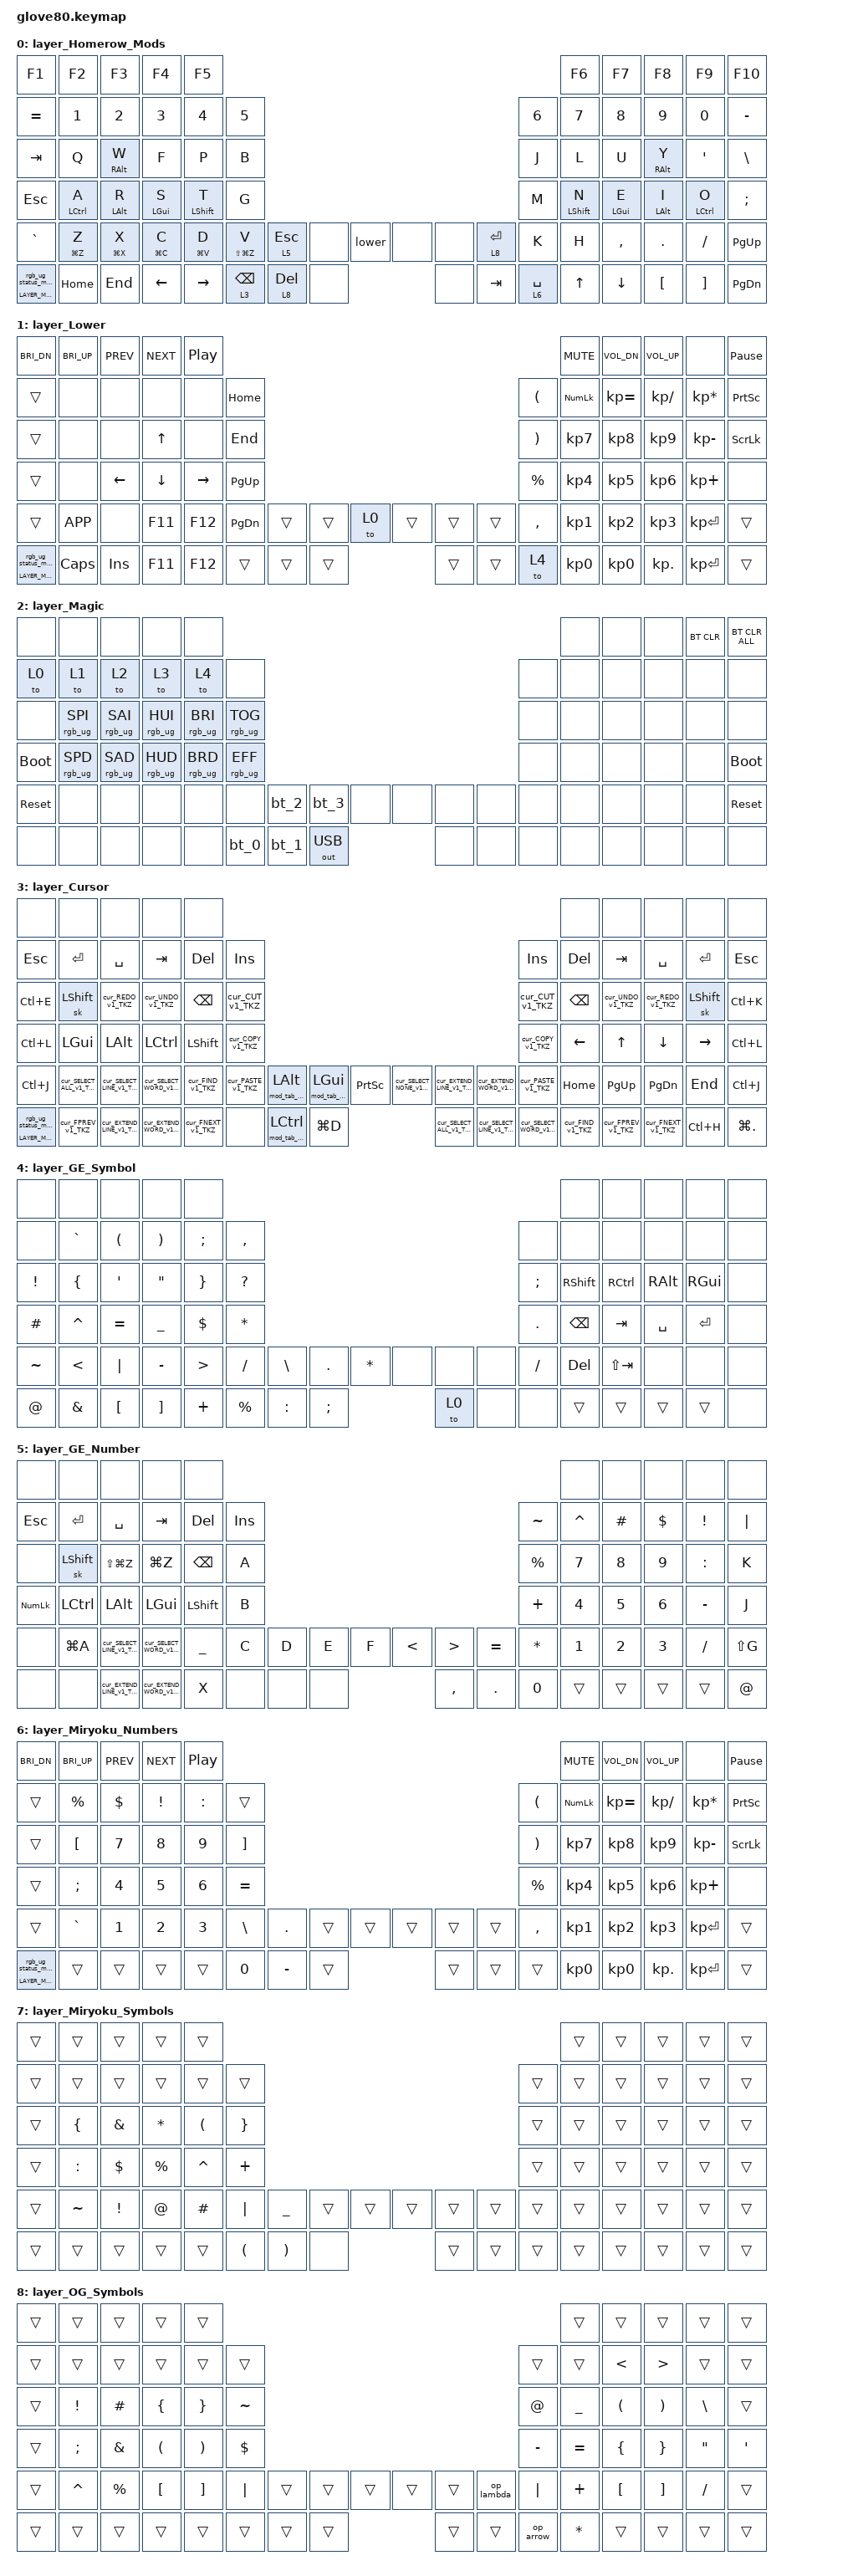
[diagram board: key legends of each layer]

/*
 * Copyright (c) 2020 The ZMK Contributors
 * Copyright (c) 2023 Innaworks Development Limited, trading as MoErgo
 *
 * SPDX-License-Identifier: MIT
 */


/* THIS FILE WAS GENERATED BY GLOVE80 LAYOUT EDITOR
 *
 * This file was generated automatically. You may or may not want to
 * edit it directly.
 */

#include <behaviors.dtsi>
/* Include all behavior includes needed */
#include <dt-bindings/zmk/outputs.h>
#include <dt-bindings/zmk/keys.h>
#include <dt-bindings/zmk/bt.h>
#include <dt-bindings/zmk/rgb.h>

/* Automatically generated layer name #define */
#define LAYER_Homerow_Mods 0
#define LAYER_Lower 1
#define LAYER_Magic 2
#define LAYER_Cursor 3
#define LAYER_GE_Symbol 4
#define LAYER_GE_Number 5
#define LAYER_Miryoku_Numbers 6
#define LAYER_Miryoku_Symbols 7
#define LAYER_OG_Symbols 8

/* To deal with the situation where there is no Lower layer, to keep &lower happy */
#ifndef LAYER_Lower
#define LAYER_Lower 0
#endif

/* Custom Device-tree */



/* Glove80 system behavior & macros */
/ {
    behaviors {
        // For the "layer" key, it'd nice to be able to use it as either a shift or a toggle.
        // Configure it as a tap dance, so the first tap (or hold) is a &mo and the second tap is a &to
        lower: lower {
            compatible = "zmk,behavior-tap-dance";
            label = "LAYER_TAP_DANCE";
            #binding-cells = <0>;
            tapping-term-ms = <200>;
            bindings = <&mo LAYER_Lower>, <&to LAYER_Lower>;
        };
    };
};

/ {
    macros {
        rgb_ug_status_macro: rgb_ug_status_macro {
            label = "RGB_UG_STATUS";
            compatible = "zmk,behavior-macro";
            #binding-cells = <0>;
            bindings
                = <&rgb_ug RGB_STATUS>;
        };
    };
};


/ {
#ifdef BT_DISC_CMD
    behaviors {
        bt_0: bt_0 {
            compatible = "zmk,behavior-tap-dance";
            label = "BT_0";
            #binding-cells = <0>;
            tapping-term-ms = <200>;
            bindings = <&bt_select_0>, <&bt BT_DISC 0>;
        };
        bt_1: bt_1 {
            compatible = "zmk,behavior-tap-dance";
            label = "BT_1";
            #binding-cells = <0>;
            tapping-term-ms = <200>;
            bindings = <&bt_select_1>, <&bt BT_DISC 1>;
        };
        bt_2: bt_2 {
            compatible = "zmk,behavior-tap-dance";
            label = "BT_2";
            #binding-cells = <0>;
            tapping-term-ms = <200>;
            bindings = <&bt_select_2>, <&bt BT_DISC 2>;
        };
        bt_3: bt_3 {
            compatible = "zmk,behavior-tap-dance";
            label = "BT_3";
            #binding-cells = <0>;
            tapping-term-ms = <200>;
            bindings = <&bt_select_3>, <&bt BT_DISC 3>;
        };
    };
    macros {
        bt_select_0: bt_select_0 {
            label = "BT_SELECT_0";
            compatible = "zmk,behavior-macro";
            #binding-cells = <0>;
            bindings
                = <&out OUT_BLE>,
                  <&bt BT_SEL 0>;
        };
        bt_select_1: bt_select_1 {
            label = "BT_SELECT_1";
            compatible = "zmk,behavior-macro";
            #binding-cells = <0>;
            bindings
                = <&out OUT_BLE>,
                  <&bt BT_SEL 1>;
        };
        bt_select_2: bt_select_2 {
            label = "BT_SELECT_2";
            compatible = "zmk,behavior-macro";
            #binding-cells = <0>;
            bindings
                = <&out OUT_BLE>,
                  <&bt BT_SEL 2>;
        };
        bt_select_3: bt_select_3 {
            label = "BT_SELECT_3";
            compatible = "zmk,behavior-macro";
            #binding-cells = <0>;
            bindings
                = <&out OUT_BLE>,
                  <&bt BT_SEL 3>;
        };
    };
#else
    macros {
        bt_0: bt_0 {
            label = "BT_0";
            compatible = "zmk,behavior-macro";
            #binding-cells = <0>;
            bindings
                = <&out OUT_BLE>,
                  <&bt BT_SEL 0>;
        };
        bt_1: bt_1 {
            label = "BT_1";
            compatible = "zmk,behavior-macro";
            #binding-cells = <0>;
            bindings
                = <&out OUT_BLE>,
                  <&bt BT_SEL 1>;
        };
        bt_2: bt_2 {
            label = "BT_2";
            compatible = "zmk,behavior-macro";
            #binding-cells = <0>;
            bindings
                = <&out OUT_BLE>,
                  <&bt BT_SEL 2>;
        };
        bt_3: bt_3 {
            label = "BT_3";
            compatible = "zmk,behavior-macro";
            #binding-cells = <0>;
            bindings
                = <&out OUT_BLE>,
                  <&bt BT_SEL 3>;
        };
    };
#endif
};

/ {
    behaviors {
        magic: magic {
            compatible = "zmk,behavior-hold-tap";
            label = "MAGIC_HOLD_TAP";
            #binding-cells = <2>;
            flavor = "tap-preferred";
            tapping-term-ms = <200>;
            bindings = <&mo>, <&rgb_ug_status_macro>;
        };
    };
};

/* #define for key positions */
#define POS_LH_T1 52
#define POS_LH_T2 53
#define POS_LH_T3 54
#define POS_LH_T4 69
#define POS_LH_T5 70
#define POS_LH_T6 71
#define POS_LH_C1R2 15
#define POS_LH_C1R3 27
#define POS_LH_C1R4 39
#define POS_LH_C1R5 51
#define POS_LH_C2R1 4
#define POS_LH_C2R2 14
#define POS_LH_C2R3 26
#define POS_LH_C2R4 38
#define POS_LH_C2R5 50
#define POS_LH_C2R6 68
#define POS_LH_C3R1 3
#define POS_LH_C3R2 13
#define POS_LH_C3R3 25
#define POS_LH_C3R4 37
#define POS_LH_C3R5 49
#define POS_LH_C3R6 67
#define POS_LH_C4R1 2
#define POS_LH_C4R2 12
#define POS_LH_C4R3 24
#define POS_LH_C4R4 36
#define POS_LH_C4R5 48
#define POS_LH_C4R6 66
#define POS_LH_C5R1 1
#define POS_LH_C5R2 11
#define POS_LH_C5R3 23
#define POS_LH_C5R4 35
#define POS_LH_C5R5 47
#define POS_LH_C5R6 65
#define POS_LH_C6R1 0
#define POS_LH_C6R2 10
#define POS_LH_C6R3 22
#define POS_LH_C6R4 34
#define POS_LH_C6R5 46
#define POS_LH_C6R6 64
#define POS_RH_T1 57
#define POS_RH_T2 56
#define POS_RH_T3 55
#define POS_RH_T4 74
#define POS_RH_T5 73
#define POS_RH_T6 72
#define POS_RH_C1R2 16
#define POS_RH_C1R3 28
#define POS_RH_C1R4 40
#define POS_RH_C1R5 58
#define POS_RH_C2R1 5
#define POS_RH_C2R2 17
#define POS_RH_C2R3 29
#define POS_RH_C2R4 41
#define POS_RH_C2R5 59
#define POS_RH_C2R6 75
#define POS_RH_C3R1 6
#define POS_RH_C3R2 18
#define POS_RH_C3R3 30
#define POS_RH_C3R4 42
#define POS_RH_C3R5 60
#define POS_RH_C3R6 76
#define POS_RH_C4R1 7
#define POS_RH_C4R2 19
#define POS_RH_C4R3 31
#define POS_RH_C4R4 43
#define POS_RH_C4R5 61
#define POS_RH_C4R6 77
#define POS_RH_C5R1 8
#define POS_RH_C5R2 20
#define POS_RH_C5R3 32
#define POS_RH_C5R4 44
#define POS_RH_C5R5 62
#define POS_RH_C5R6 78
#define POS_RH_C6R1 9
#define POS_RH_C6R2 21
#define POS_RH_C6R3 33
#define POS_RH_C6R4 45
#define POS_RH_C6R5 63
#define POS_RH_C6R6 79

/* Custom Defined Behaviors */
/ {

};

/* Automatically generated macro definitions */
/ {
    macros {

        // Cursor Layer - Copy (Cmd C) - TailorKey
        cur_COPY_v1_TKZ: cur_COPY_v1_TKZ {
            label = "&CUR_COPY_V1_TKZ";
            compatible = "zmk,behavior-macro";
            #binding-cells = <0>;
            bindings = <&kp LG(C)>;
        };

        // Cursor Layer - Cut (Cmd X) - TailorKey
        cur_CUT_v1_TKZ: cur_CUT_v1_TKZ {
            label = "&CUR_CUT_V1_TKZ";
            compatible = "zmk,behavior-macro";
            #binding-cells = <0>;
            bindings = <&kp LG(X)>;
        };

        // Cursor Layer - Extent Line (seq) - TailorKey
        cur_EXTEND_LINE_v1_TKZ: cur_EXTEND_LINE_v1_TKZ {
            label = "&CUR_EXTEND_LINE_V1_TKZ";
            compatible = "zmk,behavior-macro";
            #binding-cells = <0>;
            tap-ms = <1>;
            wait-ms = <1>;
            bindings = <&kp LS(END)>;
        };

        // Cursor Layer - Extend Word (seq) - TailorKey
        cur_EXTEND_WORD_v1_TKZ: cur_EXTEND_WORD_v1_TKZ {
            label = "&CUR_EXTEND_WORD_V1_TKZ";
            compatible = "zmk,behavior-macro";
            #binding-cells = <0>;
            tap-ms = <1>;
            wait-ms = <1>;
            bindings = <&kp LA(LS(RIGHT))>;
        };

        // Cursor Layer - Find (Cmd F) - TailorKey
        cur_FIND_v1_TKZ: cur_FIND_v1_TKZ {
            label = "&CUR_FIND_V1_TKZ";
            compatible = "zmk,behavior-macro";
            #binding-cells = <0>;
            bindings = <&kp LG(F)>;
        };

        // Cursor Layer - Find Next (Cmd G) - TailorKey
        cur_FNEXT_v1_TKZ: cur_FNEXT_v1_TKZ {
            label = "&CUR_FNEXT_V1_TKZ";
            compatible = "zmk,behavior-macro";
            #binding-cells = <0>;
            bindings = <&kp LG(G)>;
        };

        // Cursor Layer - Find Prev (Cmd Shift G) - TailorKey
        cur_FPREV_v1_TKZ: cur_FPREV_v1_TKZ {
            label = "&CUR_FPREV_V1_TKZ";
            compatible = "zmk,behavior-macro";
            #binding-cells = <0>;
            bindings = <&kp LS(LG(G))>;
        };

        // Cursor Layer - Paste (Cmd V) - TailorKey
        cur_PASTE_v1_TKZ: cur_PASTE_v1_TKZ {
            label = "&CUR_PASTE_V1_TKZ";
            compatible = "zmk,behavior-macro";
            #binding-cells = <0>;
            bindings = <&kp LG(V)>;
        };

        // Cursor Layer - Redo (Cmd Y) - TailorKey
        cur_REDO_v1_TKZ: cur_REDO_v1_TKZ {
            label = "&CUR_REDO_V1_TKZ";
            compatible = "zmk,behavior-macro";
            #binding-cells = <0>;
            bindings = <&kp LG(Y)>;
        };

        // Cursor Layer - Selest All (Cmd A) - TailorKey
        cur_SELECT_ALL_v1_TKZ: cur_SELECT_ALL_v1_TKZ {
            label = "&CUR_SELECT_ALL_V1_TKZ";
            compatible = "zmk,behavior-macro";
            #binding-cells = <0>;
            bindings = <&kp LG(A)>;
        };

        // Cursor Layer - Select Line (seq) - TailorKey
        cur_SELECT_LINE_v1_TKZ: cur_SELECT_LINE_v1_TKZ {
            label = "&CUR_SELECT_LINE_V1_TKZ";
            compatible = "zmk,behavior-macro";
            #binding-cells = <0>;
            tap-ms = <1>;
            wait-ms = <1>;
            bindings = <&kp HOME>
                , <&kp LS(END)>;
        };

        // Cursor Layer - Select None (seq) - TailorKey
        cur_SELECT_NONE_v1_TKZ: cur_SELECT_NONE_v1_TKZ {
            label = "&CUR_SELECT_NONE_V1_TKZ";
            compatible = "zmk,behavior-macro";
            #binding-cells = <0>;
            tap-ms = <1>;
            wait-ms = <1>;
            bindings = <&kp DOWN>
                , <&kp UP>
                , <&kp RIGHT>
                , <&kp LEFT>;
        };

        // Cursor Layer - Select Word (seq) - TailorKey
        cur_SELECT_WORD_v1_TKZ: cur_SELECT_WORD_v1_TKZ {
            label = "&CUR_SELECT_WORD_V1_TKZ";
            compatible = "zmk,behavior-macro";
            #binding-cells = <0>;
            tap-ms = <1>;
            wait-ms = <1>;
            bindings = <&kp LA(LEFT)>
                , <&kp LA(LS(RIGHT))>;
        };

        // Cursor Layer - Undo (Cmd Z) - TailorKey
        cur_UNDO_v1_TKZ: cur_UNDO_v1_TKZ {
            label = "&CUR_UNDO_V1_TKZ";
            compatible = "zmk,behavior-macro";
            #binding-cells = <0>;
            bindings = <&kp LG(Z)>;
        };

        // mod_tab_switcher_chord -  TailorKey
        mod_tab_chord_v1_TKZ: mod_tab_chord_v1_TKZ {
            label = "&MOD_TAB_CHORD_V1_TKZ";
            compatible = "zmk,behavior-macro-two-param";
            #binding-cells = <2>;
            tap-ms = <0>;
            wait-ms = <0>;
            bindings = <&macro_press>
                , <&macro_param_2to1>
                , <&mo 0>
                , <&macro_press>
                , <&macro_param_1to1>
                , <&mod_tab_v1_TKZ N0>
                , <&macro_pause_for_release>
                , <&macro_release>
                , <&macro_param_1to1>
                , <&mod_tab_v1_TKZ N0>
                , <&macro_release>
                , <&macro_param_2to1>
                , <&mo 0>;
        };

        // mod_tab_switcher - TailorKey
        //
        //
        mod_tab_v1_TKZ: mod_tab_v1_TKZ {
            label = "&MOD_TAB_V1_TKZ";
            compatible = "zmk,behavior-macro-one-param";
            #binding-cells = <1>;
            tap-ms = <0>;
            wait-ms = <0>;
            bindings = <&macro_press>
                , <&macro_param_1to1>
                , <&kp N0>
                , <&macro_tap>
                , <&kp TAB>
                , <&macro_pause_for_release>
                , <&macro_release>
                , <&macro_param_1to1>
                , <&kp N0>;
        };

        // Lambda Operator (=>)
        op_lambda: op_lambda {
            label = "&OP_LAMBDA";
            compatible = "zmk,behavior-macro";
            #binding-cells = <0>;
            tap-ms = <10>;
            wait-ms = <5>;
            bindings = <&kp EQUAL>
                , <&kp GT>;
        };

        // Lambda Operator (->)
        op_arrow: op_arrow {
            label = "&OP_ARROW";
            compatible = "zmk,behavior-macro";
            #binding-cells = <0>;
            tap-ms = <10>;
            wait-ms = <5>;
            bindings = <&kp MINUS>
                , <&kp GT>;
        };
    };
};

/* Automatically generated behavior definitions */
/ {
    behaviors {

        // Short duration mod-tap for undo, copy & paste with one hold
        EditHoldTap: EditHoldTap {
            compatible = "zmk,behavior-hold-tap";
            #binding-cells = <2>;
            tapping-term-ms = <175>;
            bindings = <&kp>, <&kp>;
            flavor = "tap-preferred";
            quick-tap-ms = <75>;
        };

        // Homerow Mod for the left index finger - TailorKey
        HRM_left_index_v1_TKZ: HRM_left_index_v1_TKZ {
            compatible = "zmk,behavior-hold-tap";
            #binding-cells = <2>;
            tapping-term-ms = <170>;
            bindings = <&kp>, <&kp>;
            flavor = "tap-preferred";
            quick-tap-ms = <300>;
            require-prior-idle-ms = <100>;
            hold-trigger-key-positions = <57 56 55 72 73 74 5 6 7 8 16 17 18 19 20 28 29 30 31 32 40 41 42 43 44 58 59 60 61 62 75 76 77 78 9 21 33 45 63 79 52 53 54 70 71 69>;
            hold-trigger-on-release;
        };

        // Homerow Mod for the left middle finger - TailorKey
        HRM_left_middy_v1_TKZ: HRM_left_middy_v1_TKZ {
            compatible = "zmk,behavior-hold-tap";
            #binding-cells = <2>;
            tapping-term-ms = <210>;
            bindings = <&kp>, <&kp>;
            flavor = "tap-preferred";
            quick-tap-ms = <300>;
            require-prior-idle-ms = <150>;
            hold-trigger-key-positions = <57 56 55 72 73 74 5 6 7 8 16 17 18 19 20 28 29 30 31 32 40 41 42 43 44 58 59 60 61 62 75 76 77 78 9 21 33 45 63 79 52 53 54 69 70 71>;
            hold-trigger-on-release;
        };

        // Homerow Mod for the left pinky - TailorKey
        HRM_left_pinky_v1_TKZ: HRM_left_pinky_v1_TKZ {
            compatible = "zmk,behavior-hold-tap";
            #binding-cells = <2>;
            tapping-term-ms = <260>;
            bindings = <&kp>, <&kp>;
            flavor = "tap-preferred";
            quick-tap-ms = <300>;
            require-prior-idle-ms = <150>;
            hold-trigger-key-positions = <57 56 55 72 73 74 5 6 7 8 9 16 17 18 19 20 21 29 30 31 32 33 42 43 44 45 60 61 62 63 28 40 41 58 59 75 76 77 79 78 52 53 54 69 70 71>;
            hold-trigger-on-release;
        };

        // Homerow Mod for the left ring finger 1 - TailorKey
        HRM_left_ring1_v1_TKZ: HRM_left_ring1_v1_TKZ {
            compatible = "zmk,behavior-hold-tap";
            #binding-cells = <2>;
            tapping-term-ms = <240>;
            bindings = <&kp>, <&kp>;
            flavor = "tap-preferred";
            quick-tap-ms = <300>;
            require-prior-idle-ms = <150>;
            hold-trigger-key-positions = <57 56 55 72 73 74 5 6 7 8 16 17 18 19 20 28 29 30 31 32 40 41 42 43 44 58 59 60 61 62 75 76 77 78 9 21 33 45 63 79 52 53 54 69 70 71>;
            hold-trigger-on-release;
        };

        // Homerow Mod for the left ring finger 2 - TailorKey
        HRM_left_ring2_v1_TKZ: HRM_left_ring2_v1_TKZ {
            compatible = "zmk,behavior-hold-tap";
            #binding-cells = <2>;
            tapping-term-ms = <240>;
            bindings = <&kp>, <&kp>;
            flavor = "tap-preferred";
            quick-tap-ms = <300>;
            require-prior-idle-ms = <150>;
            hold-trigger-key-positions = <57 56 55 72 73 74 5 6 7 8 16 17 18 19 20 28 29 30 31 32 40 41 42 43 44 58 59 60 61 62 75 76 77 78 9 21 33 45 63 79 53 54 69 70 71 52>;
            hold-trigger-on-release;
        };

        // Homerow Mod for the right index finger - TailorKey
        HRM_right_index_v1_TKZ: HRM_right_index_v1_TKZ {
            compatible = "zmk,behavior-hold-tap";
            #binding-cells = <2>;
            tapping-term-ms = <170>;
            bindings = <&kp>, <&kp>;
            flavor = "tap-preferred";
            quick-tap-ms = <300>;
            require-prior-idle-ms = <100>;
            hold-trigger-key-positions = <52 53 54 71 70 69 0 1 10 11 12 13 14 22 23 24 25 26 27 34 35 36 37 38 39 46 47 48 49 50 51 64 65 66 67 68 15 4 2 3 55 56 57 72 73 74>;
            hold-trigger-on-release;
        };

        // Homerow Mod for the right middle finger - TailorKey
        HRM_right_middy_v1_TKZ: HRM_right_middy_v1_TKZ {
            compatible = "zmk,behavior-hold-tap";
            #binding-cells = <2>;
            tapping-term-ms = <210>;
            bindings = <&kp>, <&kp>;
            flavor = "tap-preferred";
            quick-tap-ms = <300>;
            require-prior-idle-ms = <150>;
            hold-trigger-key-positions = <52 53 54 71 70 69 0 1 10 11 12 13 14 22 23 24 25 26 27 34 35 36 37 38 39 46 47 48 49 50 51 64 65 66 67 68 15 4 2 3 55 56 57 72 73 74>;
            hold-trigger-on-release;
        };

        // Homerow Mod for the right pinky - TailorKey
        HRM_right_pinky_v1_TKZ: HRM_right_pinky_v1_TKZ {
            compatible = "zmk,behavior-hold-tap";
            #binding-cells = <2>;
            tapping-term-ms = <260>;
            bindings = <&kp>, <&kp>;
            flavor = "tap-preferred";
            quick-tap-ms = <300>;
            require-prior-idle-ms = <150>;
            hold-trigger-key-positions = <52 53 54 71 70 69 0 1 10 11 12 13 14 22 23 24 25 26 27 34 35 36 37 38 39 46 47 48 49 50 51 64 65 66 67 68 15 4 2 3 55 56 57 72 73 74>;
            hold-trigger-on-release;
        };

        // Homerow Mod for the right ring 1 - TailorKey
        //
        HRM_right_ring1_v1_TKZ: HRM_right_ring1_v1_TKZ {
            compatible = "zmk,behavior-hold-tap";
            #binding-cells = <2>;
            tapping-term-ms = <240>;
            bindings = <&kp>, <&kp>;
            flavor = "tap-preferred";
            quick-tap-ms = <300>;
            require-prior-idle-ms = <150>;
            hold-trigger-key-positions = <52 53 54 71 70 69 0 1 10 11 12 13 14 22 23 24 25 26 27 34 35 36 37 38 39 46 47 48 49 50 51 64 65 66 67 68 15 4 2 3 55 56 57 72 73 74>;
            hold-trigger-on-release;
        };

        // Homerow Mod for the right ring 2 - TailorKey
        HRM_right_ring2_v1_TKZ: HRM_right_ring2_v1_TKZ {
            compatible = "zmk,behavior-hold-tap";
            #binding-cells = <2>;
            tapping-term-ms = <240>;
            bindings = <&kp>, <&kp>;
            flavor = "tap-preferred";
            quick-tap-ms = <300>;
            require-prior-idle-ms = <150>;
            hold-trigger-key-positions = <52 53 54 71 70 69 0 1 10 11 12 13 14 22 23 24 25 26 27 34 35 36 37 38 39 46 47 48 49 50 51 64 65 66 67 68 15 4 2 3 55 56 57 72 73 74>;
            hold-trigger-on-release;
        };

        // space_layer_access - TailorKey
        space_v1_TKZ: space_v1_TKZ {
            compatible = "zmk,behavior-hold-tap";
            #binding-cells = <2>;
            tapping-term-ms = <200>;
            bindings = <&mo>, <&kp>;
            flavor = "tap-preferred";
            quick-tap-ms = <150>;
        };

        // thumb_layer_access - TailorKey
        thumb_v1_TKZ: thumb_v1_TKZ {
            compatible = "zmk,behavior-hold-tap";
            #binding-cells = <2>;
            tapping-term-ms = <200>;
            bindings = <&mo>, <&kp>;
            flavor = "tap-preferred";
            quick-tap-ms = <300>;
        };
    };
};

/* Automatically generated combos definitions */
/ {
    combos {
        compatible = "zmk,combos";

        // capslock when pressing both T1's - TailorKey
        combo_capslock_v1_TKZ {
            key-positions = <52 57>;
            bindings = <&kp CAPS>;
        };

        // capsword on LH_T1 and LH_C2R4 - TailorKey
        combo_capsword_left_v1_TKZ {
            timeout-ms = <50>;
            key-positions = <38 52>;
            bindings = <&caps_word>;
        };

        // capsword on RH_T1 and RH_C2R4 - TailorKey
        combo_capsword_right_v1_TKZ {
            timeout-ms = <50>;
            key-positions = <57 41>;
            bindings = <&caps_word>;
        };

        // F11 on RH_C5 and RH_R1+R2 - TailorKey
        combo_F11_v1_TKZ {
            key-positions = <8 20>;
            bindings = <&kp F11>;
        };

        // F12 on RH_C6 and RH_R1+R2 - TailorKey
        combo_F12_v1_TKZ {
            key-positions = <9 21>;
            bindings = <&kp F12>;
        };

        // sticky "hyper" modifiers (Alt + Ctrl + Shift) - TailorKey
        combo_sticky_hyp_rght_v1_TKZ {
            timeout-ms = <50>;
            key-positions = <74 57>;
            bindings = <&sk LG(LA(LC(LSHFT)))>;
        };

        // sticky "meh" modifiers (Alt + Ctrl + Shift) - TailorKey
        combo_sticky_meh_rght_v1_TKZ {
            timeout-ms = <50>;
            key-positions = <73 74>;
            bindings = <&sk LA(LC(LSHFT))>;
        };

        // Calls macro tab_switcher_ctrl_combo on Left T4/T5 - TailorKey
        combo_ctrl_tab_switch_v1_TKZ {
            timeout-ms = <51>;
            key-positions = <69 70>;
            bindings = <&mod_tab_chord_v1_TKZ LCTRL 3>;
        };

        // Calls macro tab_switcher_gui_combo on Left T1/T4 - TailorKey
        combo_alt_tab_switch_v1_TKZ {
            key-positions = <69 52>;
            bindings = <&mod_tab_chord_v1_TKZ LALT 3>;
        };
    };
};

/* Automatically generated keymap */
/ {
    keymap {
        compatible = "zmk,keymap";


        layer_Homerow_Mods {
            bindings = <
               &kp F1                          &kp F2                         &kp F3                         &kp F4                          &kp F5                                                                                                                                                        &kp F6                          &kp F7                          &kp F8                           &kp F9    &kp F10
            &kp EQUAL                          &kp N1                         &kp N2                         &kp N3                          &kp N4                    &kp N5                                                                                             &kp N6                           &kp N7                          &kp N8                          &kp N9                           &kp N0  &kp MINUS
              &kp TAB                           &kp Q  &HRM_left_ring2_v1_TKZ RALT W                          &kp F                           &kp P                     &kp B                                                                                              &kp J                            &kp L                           &kp U  &HRM_right_ring2_v1_TKZ RALT Y                          &kp SQT   &kp BSLH
              &kp ESC  &HRM_left_pinky_v1_TKZ LCTRL A  &HRM_left_ring1_v1_TKZ LALT R  &HRM_left_middy_v1_TKZ LGUI S  &HRM_left_index_v1_TKZ LSHFT T                     &kp G                                                                                              &kp M  &HRM_right_index_v1_TKZ LSHFT N  &HRM_right_middy_v1_TKZ LGUI E  &HRM_right_ring1_v1_TKZ LALT I  &HRM_right_pinky_v1_TKZ LCTRL O   &kp SEMI
            &kp GRAVE            &EditHoldTap LG(Z) Z           &EditHoldTap LG(X) X           &EditHoldTap LG(C) C            &EditHoldTap LG(V) D  &EditHoldTap LS(LG(Z)) V   &thumb_v1_TKZ 5 ESC                &none  &lower   &none    &none    &thumb_v1_TKZ 8 RET   &kp K                            &kp H                       &kp COMMA                         &kp DOT                         &kp FSLH  &kp PG_UP
 &magic LAYER_Magic 0                        &kp HOME                        &kp END                       &kp LEFT                       &kp RIGHT                            &thumb_v1_TKZ 3 BSPC  &thumb_v1_TKZ 8 DEL   &none   &none  &kp TAB  &space_v1_TKZ 6 SPACE                                   &kp UP                        &kp DOWN                        &kp LBKT                         &kp RBKT  &kp PG_DN
            >;
        };

        layer_Lower {
            bindings = <
         &kp C_BRI_DN  &kp C_BRI_UP      &kp C_PREV      &kp C_NEXT         &kp C_PP                                                                                    &kp C_MUTE  &kp C_VOL_DN  &kp C_VOL_UP            &none  &kp PAUSE_BREAK
               &trans         &none           &none           &none            &none   &kp HOME                                                   &kp LEFT_PARENTHESIS  &kp KP_NUM  &kp KP_EQUAL  &kp KP_SLASH  &kp KP_MULTIPLY  &kp PRINTSCREEN
               &trans         &none           &none    &kp UP_ARROW            &none    &kp END                                                  &kp RIGHT_PARENTHESIS   &kp KP_N7     &kp KP_N8     &kp KP_N9     &kp KP_MINUS   &kp SCROLLLOCK
               &trans         &none  &kp LEFT_ARROW  &kp DOWN_ARROW  &kp RIGHT_ARROW  &kp PG_UP                                                            &kp PERCENT   &kp KP_N4     &kp KP_N5     &kp KP_N6      &kp KP_PLUS            &none
               &trans     &kp K_APP           &none         &kp F11          &kp F12  &kp PG_DN  &trans  &trans   &to 0  &trans  &trans  &trans              &kp COMMA   &kp KP_N1     &kp KP_N2     &kp KP_N3     &kp KP_ENTER           &trans
 &magic LAYER_Magic 0      &kp CAPS         &kp INS         &kp F11          &kp F12             &trans  &trans  &trans  &trans  &trans   &to 4                          &kp KP_N0     &kp KP_N0    &kp KP_DOT     &kp KP_ENTER           &trans
            >;
        };

        layer_Magic {
            bindings = <
       &none            &none            &none            &none            &none                                                                                  &none   &none   &none  &bt BT_CLR  &bt BT_CLR_ALL
       &to 0            &to 1            &to 2            &to 3            &to 4            &none                                                         &none   &none   &none   &none       &none           &none
       &none  &rgb_ug RGB_SPI  &rgb_ug RGB_SAI  &rgb_ug RGB_HUI  &rgb_ug RGB_BRI  &rgb_ug RGB_TOG                                                         &none   &none   &none   &none       &none           &none
 &bootloader  &rgb_ug RGB_SPD  &rgb_ug RGB_SAD  &rgb_ug RGB_HUD  &rgb_ug RGB_BRD  &rgb_ug RGB_EFF                                                         &none   &none   &none   &none       &none     &bootloader
  &sys_reset            &none            &none            &none            &none            &none   &bt_2   &bt_3         &none   &none   &none   &none   &none   &none   &none   &none       &none      &sys_reset
       &none            &none            &none            &none            &none                    &bt_0   &bt_1  &out OUT_USB   &none   &none   &none           &none   &none   &none       &none           &none
            >;
        };

        layer_Cursor {
            bindings = <
                &none                   &none                    &none                    &none              &none                                                                                                                                                                                      &none              &none              &none      &none        &none
              &kp ESC                 &kp RET                &kp SPACE                  &kp TAB            &kp DEL            &kp INS                                                                                                                                               &kp INS           &kp DEL            &kp TAB          &kp SPACE    &kp RET      &kp ESC
            &kp LC(E)               &sk LSHFT         &cur_REDO_v1_TKZ         &cur_UNDO_v1_TKZ           &kp BSPC    &cur_CUT_v1_TKZ                                                                                                                                       &cur_CUT_v1_TKZ          &kp BSPC   &cur_UNDO_v1_TKZ   &cur_REDO_v1_TKZ  &sk LSHFT    &kp LC(K)
            &kp LC(L)                &kp LGUI                 &kp LALT                &kp LCTRL          &kp LSHFT   &cur_COPY_v1_TKZ                                                                                                                                      &cur_COPY_v1_TKZ          &kp LEFT             &kp UP           &kp DOWN  &kp RIGHT    &kp LC(L)
            &kp LC(J)  &cur_SELECT_ALL_v1_TKZ  &cur_SELECT_LINE_v1_TKZ  &cur_SELECT_WORD_v1_TKZ   &cur_FIND_v1_TKZ  &cur_PASTE_v1_TKZ  &mod_tab_v1_TKZ LALT   &mod_tab_v1_TKZ LGUI  &kp PSCRN  &cur_SELECT_NONE_v1_TKZ  &cur_EXTEND_LINE_v1_TKZ  &cur_EXTEND_WORD_v1_TKZ  &cur_PASTE_v1_TKZ          &kp HOME          &kp PG_UP          &kp PG_DN    &kp END    &kp LC(J)
 &magic LAYER_Magic 0       &cur_FPREV_v1_TKZ  &cur_EXTEND_LINE_v1_TKZ  &cur_EXTEND_WORD_v1_TKZ  &cur_FNEXT_v1_TKZ                                    &none  &mod_tab_v1_TKZ LCTRL  &kp LG(D)   &cur_SELECT_ALL_v1_TKZ  &cur_SELECT_LINE_v1_TKZ  &cur_SELECT_WORD_v1_TKZ                     &cur_FIND_v1_TKZ  &cur_FPREV_v1_TKZ  &cur_FNEXT_v1_TKZ  &kp LC(H)  &kp LG(DOT)
            >;
        };

        layer_GE_Symbol {
            bindings = <
     &none      &none      &none      &none     &none                                                                                   &none        &none      &none     &none   &none
     &none  &kp GRAVE   &kp LPAR   &kp RPAR  &kp SEMI  &kp COMMA                                                             &none      &none        &none      &none     &none   &none
  &kp EXCL   &kp LBRC    &kp SQT    &kp DQT  &kp RBRC  &kp QMARK                                                          &kp SEMI  &kp RSHFT    &kp RCTRL   &kp RALT  &kp RGUI   &none
  &kp HASH  &kp CARET  &kp EQUAL  &kp UNDER  &kp DLLR   &kp STAR                                                           &kp DOT   &kp BSPC      &kp TAB  &kp SPACE   &kp RET   &none
 &kp TILDE     &kp LT   &kp PIPE  &kp MINUS    &kp GT   &kp FSLH   &kp BSLH    &kp DOT  &kp STAR   &none   &none   &none  &kp FSLH    &kp DEL  &kp LS(TAB)      &none     &none   &none
    &kp AT   &kp AMPS   &kp LBKT   &kp RBKT  &kp PLUS             &kp PRCNT  &kp COLON  &kp SEMI   &to 0   &none   &none               &trans       &trans     &trans    &trans   &none
            >;
        };

        layer_GE_Number {
            bindings = <
      &none      &none                    &none                    &none      &none                                                                                 &none     &none     &none      &none      &none
    &kp ESC    &kp RET                &kp SPACE                  &kp TAB    &kp DEL  &kp INS                                                         &kp TILDE  &kp CARET  &kp HASH  &kp DLLR   &kp EXCL   &kp PIPE
      &none  &sk LSHFT            &kp LS(LG(Z))                &kp LG(Z)   &kp BSPC    &kp A                                                         &kp PRCNT     &kp N7    &kp N8    &kp N9  &kp COLON      &kp K
 &kp KP_NUM  &kp LCTRL                 &kp LALT                 &kp LGUI  &kp LSHFT    &kp B                                                          &kp PLUS     &kp N4    &kp N5    &kp N6  &kp MINUS      &kp J
      &none  &kp LG(A)  &cur_SELECT_LINE_v1_TKZ  &cur_SELECT_WORD_v1_TKZ  &kp UNDER    &kp C   &kp D   &kp E   &kp F     &kp LT   &kp GT  &kp EQUAL   &kp STAR     &kp N1    &kp N2    &kp N3   &kp FSLH  &kp LS(G)
      &none      &none  &cur_EXTEND_LINE_v1_TKZ  &cur_EXTEND_WORD_v1_TKZ      &kp X            &none   &none   &none  &kp COMMA  &kp DOT     &kp N0                &trans    &trans    &trans     &trans     &kp AT
            >;
        };

        layer_Miryoku_Numbers {
            bindings = <
         &kp C_BRI_DN  &kp C_BRI_UP  &kp C_PREV  &kp C_NEXT   &kp C_PP                                                                                        &kp C_MUTE  &kp C_VOL_DN  &kp C_VOL_UP            &none  &kp PAUSE_BREAK
               &trans     &kp PRCNT    &kp DLLR    &kp EXCL  &kp COLON     &trans                                                       &kp LEFT_PARENTHESIS  &kp KP_NUM  &kp KP_EQUAL  &kp KP_SLASH  &kp KP_MULTIPLY  &kp PRINTSCREEN
               &trans      &kp LBKT      &kp N7      &kp N8     &kp N9   &kp RBKT                                                      &kp RIGHT_PARENTHESIS   &kp KP_N7     &kp KP_N8     &kp KP_N9     &kp KP_MINUS   &kp SCROLLLOCK
               &trans      &kp SEMI      &kp N4      &kp N5     &kp N6  &kp EQUAL                                                                &kp PERCENT   &kp KP_N4     &kp KP_N5     &kp KP_N6      &kp KP_PLUS            &none
               &trans     &kp GRAVE      &kp N1      &kp N2     &kp N3   &kp BSLH  &kp DOT     &trans  &trans  &trans  &trans  &trans              &kp COMMA   &kp KP_N1     &kp KP_N2     &kp KP_N3     &kp KP_ENTER           &trans
 &magic LAYER_Magic 0        &trans      &trans      &trans     &trans              &kp N0  &kp MINUS  &trans  &trans  &trans  &trans                          &kp KP_N0     &kp KP_N0    &kp KP_DOT     &kp KP_ENTER           &trans
            >;
        };

        layer_Miryoku_Symbols {
            bindings = <
 &trans     &trans    &trans     &trans     &trans                                                                         &trans  &trans  &trans  &trans  &trans
 &trans     &trans    &trans     &trans     &trans    &trans                                                       &trans  &trans  &trans  &trans  &trans  &trans
 &trans   &kp LBRC  &kp AMPS   &kp STAR   &kp LPAR  &kp RBRC                                                       &trans  &trans  &trans  &trans  &trans  &trans
 &trans  &kp COLON  &kp DLLR  &kp PRCNT  &kp CARET  &kp PLUS                                                       &trans  &trans  &trans  &trans  &trans  &trans
 &trans  &kp TILDE  &kp EXCL     &kp AT   &kp HASH  &kp PIPE  &kp UNDER    &trans  &trans  &trans  &trans  &trans  &trans  &trans  &trans  &trans  &trans  &trans
 &trans     &trans    &trans     &trans     &trans             &kp LPAR  &kp RPAR   &none  &trans  &trans  &trans          &trans  &trans  &trans  &trans  &trans
            >;
        };

        layer_OG_Symbols {
            bindings = <
 &trans     &trans     &trans    &trans    &trans                                                                               &trans    &trans    &trans    &trans   &trans
 &trans     &trans     &trans    &trans    &trans     &trans                                                         &trans     &trans    &kp LT    &kp GT    &trans   &trans
 &trans   &kp EXCL   &kp HASH  &kp LBRC  &kp RBRC  &kp TILDE                                                         &kp AT  &kp UNDER  &kp LPAR  &kp RPAR  &kp BSLH   &trans
 &trans   &kp SEMI   &kp AMPS  &kp LPAR  &kp RPAR   &kp DLLR                                                      &kp MINUS  &kp EQUAL  &kp LBRC  &kp RBRC   &kp DQT  &kp SQT
 &trans  &kp CARET  &kp PRCNT  &kp LBKT  &kp RBKT   &kp PIPE  &trans  &trans  &trans  &trans  &trans  &op_lambda   &kp PIPE   &kp PLUS  &kp LBKT  &kp RBKT  &kp FSLH   &trans
 &trans     &trans     &trans    &trans    &trans             &trans  &trans  &trans  &trans  &trans   &op_arrow              &kp STAR    &trans    &trans    &trans   &trans
            >;
        };

    };
};
